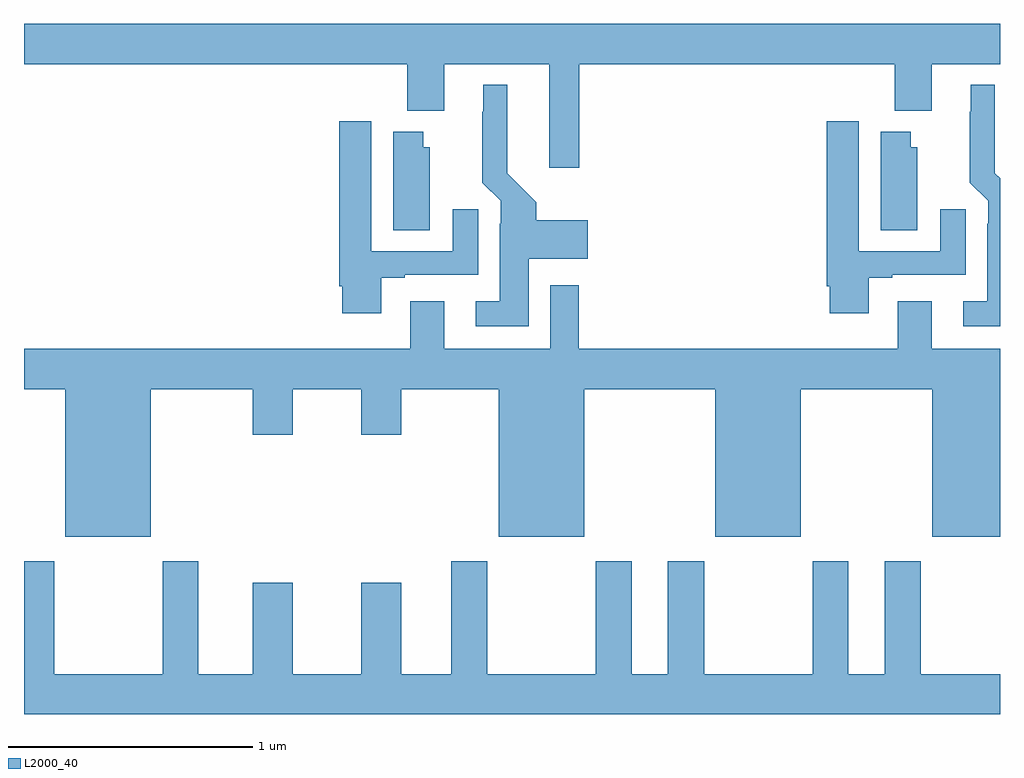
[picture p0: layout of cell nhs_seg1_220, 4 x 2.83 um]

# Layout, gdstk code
import gdstk
lib = gdstk.Library(unit=1e-6, precision=1e-09)
def P(c, l, *ps):  # polygons
    for p in ps: c.add(gdstk.Polygon(p, *l))
L2000_40 = (2000, 40)

nhs_seg1_220 = lib.new_cell('nhs_seg1_220')
P(nhs_seg1_220, L2000_40, [(125.276,503.78),(126.569,503.78),(126.569,503.588),(126.721,503.588),(126.721,503.78),(127,503.78),(127,503.944),(123,503.944),(123,503.78),(124.571,503.78),(124.571,503.588),(124.723,503.588),(124.723,503.78),(125.153,503.78),(125.153,503.355),(125.276,503.355)],
  [(125.068,502.982),(125.311,502.982),(125.311,503.14),(125.099,503.14),(125.099,503.214),(124.981,503.332),(124.981,503.695),(124.883,503.695),(124.883,503.585),(124.879,503.585),(124.879,503.294),(124.953,503.22),(124.953,503.126),(124.949,503.126),(124.949,502.807),(124.851,502.807),(124.851,502.706),(125.068,502.706)],
  [(127,503.311),(126.979,503.332),(126.979,503.695),(126.881,503.695),(126.881,503.585),(126.877,503.585),(126.877,503.294),(126.951,503.22),(126.951,503.126),(126.947,503.126),(126.947,502.807),(126.849,502.807),(126.849,502.706),(127,502.706)],
  [(124.465,502.905),(124.561,502.905),(124.561,502.917),(124.861,502.917),(124.861,503.185),(124.757,503.185),(124.757,503.013),(124.423,503.013),(124.423,503.545),(124.292,503.545),(124.292,502.87),(124.304,502.87),(124.304,502.758),(124.465,502.758)],
  [(126.463,502.905),(126.559,502.905),(126.559,502.917),(126.859,502.917),(126.859,503.185),(126.755,503.185),(126.755,503.013),(126.421,503.013),(126.421,503.545),(126.29,503.545),(126.29,502.87),(126.302,502.87),(126.302,502.758),(126.463,502.758)],
  [(124.663,503.439),(124.636,503.439),(124.636,503.503),(124.514,503.503),(124.514,503.098),(124.663,503.098)],
  [(126.661,503.439),(126.634,503.439),(126.634,503.503),(126.512,503.503),(126.512,503.098),(126.661,503.098)],
  [(123.52,502.448),(123.938,502.448),(123.938,502.26),(124.102,502.26),(124.102,502.448),(124.382,502.448),(124.382,502.26),(124.546,502.26),(124.546,502.448),(124.946,502.448),(124.946,501.842),(125.296,501.842),(125.296,502.448),(125.834,502.448),(125.834,501.842),(126.184,501.842),(126.184,502.448),(126.722,502.448),(126.722,501.842),(127,501.842),(127,502.612),(126.721,502.612),(126.721,502.807),(126.581,502.807),(126.581,502.612),(125.273,502.612),(125.273,502.873),(125.157,502.873),(125.157,502.612),(124.723,502.612),(124.723,502.807),(124.583,502.807),(124.583,502.612),(123,502.612),(123,502.448),(123.17,502.448),(123.17,501.842),(123.52,501.842)],
  [(127,501.28),(126.675,501.28),(126.675,501.742),(126.527,501.742),(126.527,501.28),(126.379,501.28),(126.379,501.742),(126.232,501.742),(126.232,501.28),(125.787,501.28),(125.787,501.742),(125.639,501.742),(125.639,501.28),(125.491,501.28),(125.491,501.742),(125.344,501.742),(125.344,501.28),(124.899,501.28),(124.899,501.742),(124.751,501.742),(124.751,501.28),(124.546,501.28),(124.546,501.655),(124.382,501.655),(124.382,501.28),(124.102,501.28),(124.102,501.655),(123.938,501.655),(123.938,501.28),(123.715,501.28),(123.715,501.742),(123.568,501.742),(123.568,501.28),(123.123,501.28),(123.123,501.742),(123,501.742),(123,501.116),(127,501.116)])

lib.write_gds('nhs_seg1_220.gds')
